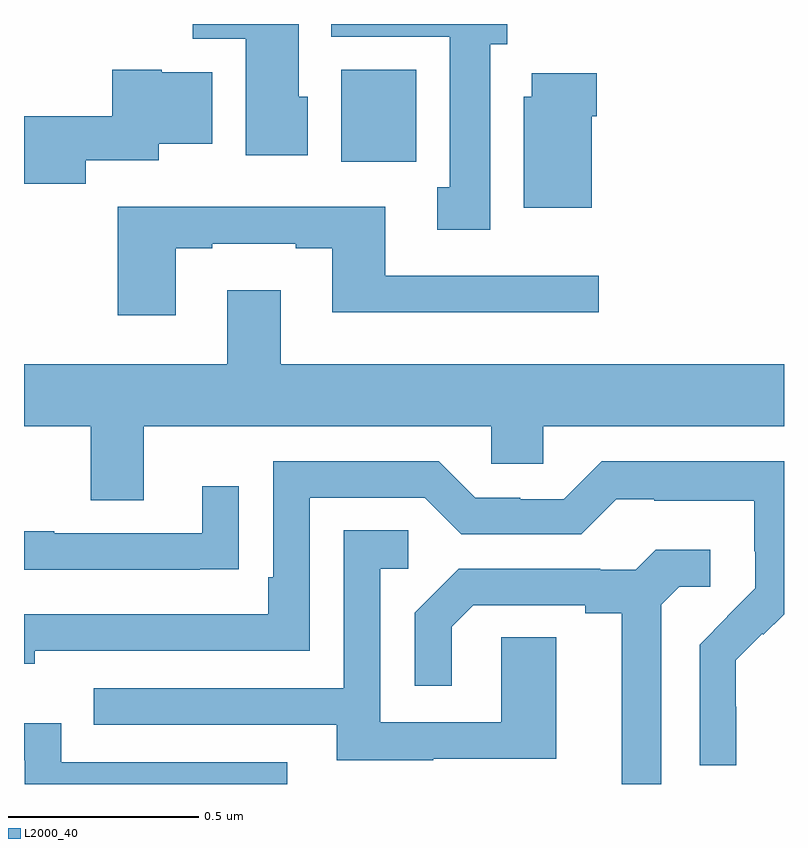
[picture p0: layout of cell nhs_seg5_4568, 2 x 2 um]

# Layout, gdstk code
import gdstk
lib = gdstk.Library(unit=1e-6, precision=1e-09)
def R(c, l, rs):  # rectangles x0, y0, x1, y1
    for r in rs: c.add(gdstk.rectangle(r[:2], r[2:], *l))
def P(c, l, *ps):  # polygons
    for p in ps: c.add(gdstk.Polygon(p, *l))
L2000_40 = (2000, 40)

nhs_seg5_4568 = lib.new_cell('nhs_seg5_4568')
R(nhs_seg5_4568, L2000_40, [(172.835,877.436,173.032,877.678)])
P(nhs_seg5_4568, L2000_40, [(173.227,877.746),(173.272,877.746),(173.272,877.799),(172.808,877.799),(172.808,877.766),(173.12,877.766),(173.12,877.37),(173.087,877.37),(173.087,877.257),(173.227,877.257)],
  [(172.747,877.608),(172.723,877.608),(172.723,877.799),(172.444,877.799),(172.444,877.76),(172.583,877.76),(172.583,877.454),(172.747,877.454)],
  [(172.162,877.44),(172.354,877.44),(172.354,877.484),(172.495,877.484),(172.495,877.672),(172.362,877.672),(172.362,877.678),(172.232,877.678),(172.232,877.556),(172,877.556),(172,877.378),(172.162,877.378)],
  [(173.494,877.556),(173.507,877.556),(173.507,877.669),(173.336,877.669),(173.336,877.608),(173.315,877.608),(173.315,877.316),(173.494,877.316)],
  [(172.399,877.209),(172.495,877.209),(172.495,877.221),(172.715,877.221),(172.715,877.209),(172.811,877.209),(172.811,877.04),(173.512,877.04),(173.512,877.137),(172.951,877.137),(172.951,877.318),(172.247,877.318),(172.247,877.032),(172.399,877.032)],
  [(172.315,876.74),(173.229,876.74),(173.229,876.642),(173.367,876.642),(173.367,876.74),(174,876.74),(174,876.904),(172.675,876.904),(172.675,877.099),(172.535,877.099),(172.535,876.904),(172,876.904),(172,876.74),(172.175,876.74),(172.175,876.546),(172.315,876.546)],
  [(173.874,876.002),(173.873,876.002),(173.873,876.125),(173.943,876.195),(173.946,876.192),(174,876.246),(174,876.649),(173.521,876.649),(173.421,876.549),(173.306,876.549),(173.306,876.552),(173.187,876.552),(173.091,876.648),(172.656,876.648),(172.656,876.343),(172.643,876.343),(172.643,876.246),(172,876.246),(172,876.116),(172.028,876.116),(172.028,876.15),(172.752,876.15),(172.752,876.552),(173.055,876.552),(173.151,876.456),(173.466,876.456),(173.559,876.549),(173.659,876.549),(173.659,876.545),(173.922,876.545),(173.922,876.411),(173.924,876.411),(173.924,876.314),(173.85,876.24),(173.851,876.239),(173.778,876.166),(173.778,875.848),(173.874,875.848)],
  [(172.463,876.364),(172.565,876.364),(172.565,876.583),(172.469,876.583),(172.469,876.459),(172.079,876.459),(172.079,876.464),(172,876.464),(172,876.363),(172.463,876.363)],
  [(173.077,875.865),(173.401,875.865),(173.401,876.185),(173.256,876.185),(173.256,875.961),(172.938,875.961),(172.938,876.366),(173.011,876.366),(173.011,876.467),(172.842,876.467),(172.842,876.051),(172.183,876.051),(172.183,875.955),(172.823,875.955),(172.823,875.861),(173.077,875.861)],
  [(173.677,876.271),(173.724,876.318),(173.806,876.318),(173.806,876.415),(173.662,876.415),(173.61,876.363),(173.516,876.363),(173.516,876.366),(173.144,876.366),(173.028,876.25),(173.028,876.057),(173.125,876.057),(173.125,876.213),(173.182,876.27),(173.477,876.27),(173.477,876.248),(173.573,876.248),(173.573,875.799),(173.677,875.799)],
  [(172.693,875.856),(172.098,875.856),(172.098,875.959),(172,875.959),(172,875.862),(172.002,875.862),(172.002,875.799),(172.693,875.799)])

lib.write_gds('nhs_seg5_4568.gds')
